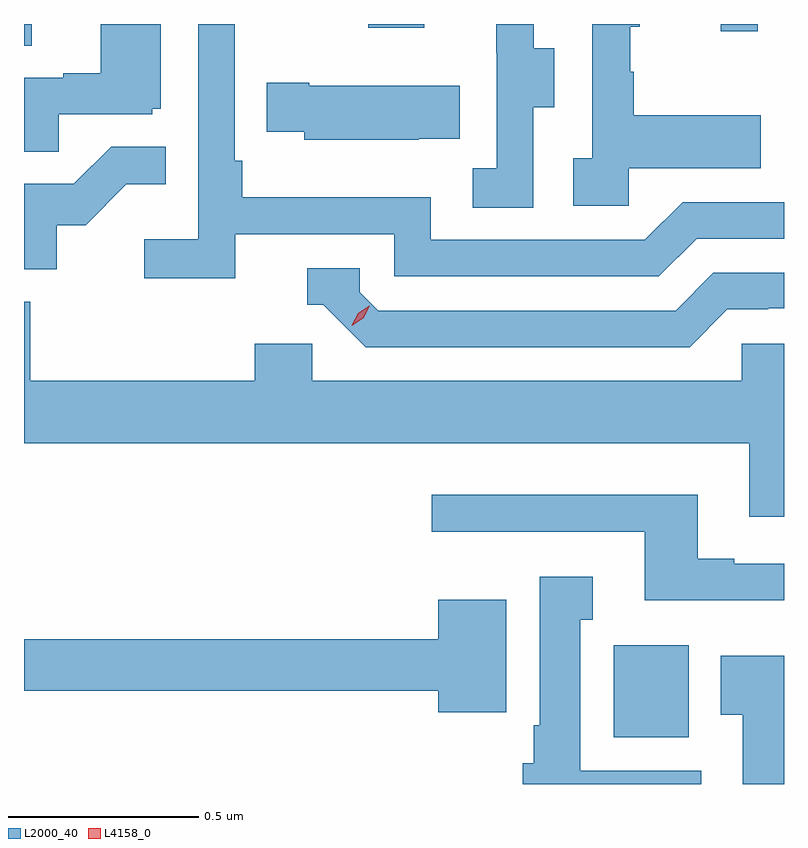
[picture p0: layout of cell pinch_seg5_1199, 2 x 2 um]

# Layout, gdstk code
import gdstk
lib = gdstk.Library(unit=1e-6, precision=1e-09)
def R(c, l, rs):  # rectangles x0, y0, x1, y1
    for r in rs: c.add(gdstk.rectangle(r[:2], r[2:], *l))
def P(c, l, *ps):  # polygons
    for p in ps: c.add(gdstk.Polygon(p, *l))
L2000_40 = (2000, 40)
L4158_0 = (4158, 0)

pinch_seg5_1199 = lib.new_cell('pinch_seg5_1199')
R(pinch_seg5_1199, L2000_40, [(823.37,843.998,823.567,844.24), (821.818,845.818,821.839,845.875), (823.652,845.856,823.749,845.875), (822.724,845.865,822.871,845.875)])
P(pinch_seg5_1199, L2000_40, [(821.909,845.637),(822.156,845.637),(822.156,845.652),(822.178,845.652),(822.178,845.875),(822.02,845.875),(822.02,845.746),(821.921,845.746),(821.921,845.733),(821.818,845.733),(821.818,845.539),(821.909,845.539)],
  [(822.374,845.322),(822.792,845.322),(822.792,845.211),(823.489,845.211),(823.588,845.31),(823.818,845.31),(823.818,845.406),(823.551,845.406),(823.452,845.307),(822.888,845.307),(822.888,845.419),(822.392,845.419),(822.392,845.515),(822.372,845.515),(822.372,845.875),(822.276,845.875),(822.276,845.308),(822.135,845.308),(822.135,845.206),(822.374,845.206)],
  [(823.41,845.495),(823.757,845.495),(823.757,845.635),(823.423,845.635),(823.423,845.75),(823.413,845.75),(823.413,845.868),(823.438,845.868),(823.438,845.875),(823.314,845.875),(823.314,845.522),(823.263,845.522),(823.263,845.397),(823.41,845.397)],
  [(823.158,845.656),(823.213,845.656),(823.213,845.811),(823.159,845.811),(823.159,845.875),(823.061,845.875),(823.061,845.799),(823.062,845.799),(823.062,845.495),(822.999,845.495),(822.999,845.392),(823.158,845.392)],
  [(822.857,845.573),(822.965,845.573),(822.965,845.713),(822.568,845.713),(822.568,845.721),(822.457,845.721),(822.457,845.591),(822.555,845.591),(822.555,845.57),(822.857,845.57)],
  [(821.904,845.346),(821.98,845.346),(822.087,845.453),(822.191,845.453),(822.191,845.552),(822.047,845.552),(821.949,845.454),(821.818,845.454),(821.818,845.229),(821.904,845.229)],
  [(823.669,845.124),(823.776,845.124),(823.776,845.127),(823.818,845.127),(823.818,845.22),(823.632,845.22),(823.533,845.121),(822.75,845.121),(822.702,845.169),(822.702,845.232),(822.563,845.232),(822.563,845.136),(822.606,845.136),(822.717,845.025),(823.57,845.025)],
  [(823.818,845.034),(823.707,845.034),(823.707,844.936),(822.576,844.936),(822.576,845.034),(822.425,845.034),(822.425,844.936),(821.834,844.936),(821.834,845.144),(821.818,845.144),(821.818,844.772),(823.727,844.772),(823.727,844.578),(823.818,844.578)],
  [(823.818,844.455),(823.687,844.455),(823.687,844.468),(823.591,844.468),(823.591,844.636),(822.891,844.636),(822.891,844.539),(823.451,844.539),(823.451,844.358),(823.818,844.358)],
  [(823.6,843.91),(823.282,843.91),(823.282,844.307),(823.315,844.307),(823.315,844.42),(823.175,844.42),(823.175,844.03),(823.16,844.03),(823.16,843.93),(823.13,843.93),(823.13,843.875),(823.6,843.875)],
  [(823.087,844.36),(822.908,844.36),(822.908,844.256),(821.818,844.256),(821.818,844.12),(822.908,844.12),(822.908,844.064),(823.087,844.064)],
  [(823.818,844.213),(823.652,844.213),(823.652,844.057),(823.709,844.057),(823.709,843.875),(823.818,843.875)])
P(pinch_seg5_1199, L4158_0, [(822.68,845.081),(822.68,845.082),(822.697,845.114),(822.727,845.134),(822.728,845.134),(822.728,845.134),(822.711,845.101),(822.681,845.081)])

lib.write_gds('pinch_seg5_1199.gds')
